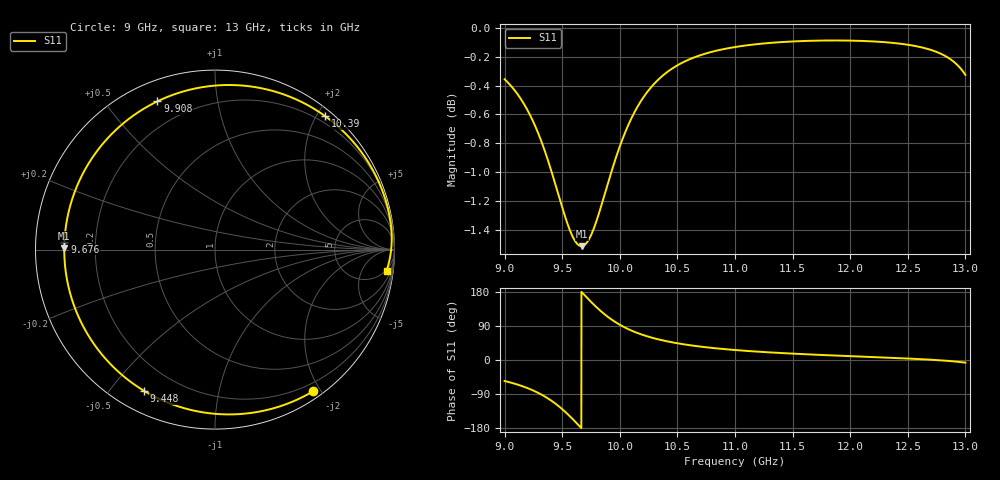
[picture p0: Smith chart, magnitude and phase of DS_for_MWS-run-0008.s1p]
! TOUCHSTONE file generated by CST DESIGN STUDIO
! Date and time: Tue Feb  4 14:11:55 2025
! Project name: C:\Work\MatlabApps\UnitCellOptimizationMatlab\CST\unitcell.cst
! Tree item: Tasks\Sweep1\SPara1\S-Parameters
! Header version: 2024
! Port assignment regex: !\s*Touchstone port\s*([0-9]+)\s*=\s*(CST MWS port|CST DES external port|CST DES block port)\s*(.+)\s* \(\"(.*)\"\)(\s*mode\s*([0-9]+))?.*
! Touchstone port assignment:
! Touchstone port 1 = CST DES external port 1 ("")
# GHz S MA R 50
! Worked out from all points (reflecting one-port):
!   4001 points, 9 GHz to 13 GHz, reference 50 ohm
!   lowest |S11| = -1.5 dB at 9.668 GHz (marker M1), VSWR 11.50, Z = 4.35 + j0.187 ohm
!   phase of S11 starts at -55 deg and turns -312 deg over the sweep
!   S11 on the Smith chart (normalised r, x): 9 GHz: 0.09, -1.90; 9.448 GHz: 0.09, -0.61; 9.676 GHz: 0.09, +0.03; 9.908 GHz: 0.09, +0.68; 10.39 GHz: 0.10, +2.12; 13 GHz: 5, -15
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9  0.9599 -55.4
9.114  0.9483 -65.0
9.227  0.9317 -77.7
9.35  0.9062 -96.5
9.448  0.8805 -116.7
9.5  0.8664 -129.7
9.544  0.8555 -141.8
9.591  0.8463 -155.9
9.63  0.8415 -168.2
9.668  0.8399 179.6
9.676  0.84 177.0
9.734  0.8448 158.4
9.799  0.8574 138.9
9.853  0.8712 124.3
9.908  0.8863 111.2
10  0.9097 93.0
10.089  0.9283 79.3
10.181  0.943 68.1
10.281  0.9548 58.7
10.392  0.9641 50.5
10.5  0.9707 44.1
10.719  0.9792 34.6
11  0.985 26.3
11.5  0.9894 16.8
12  0.9901 10.1
12.5  0.9868 3.9
12.791  0.9795 -1.0
13  0.9633 -7.0
